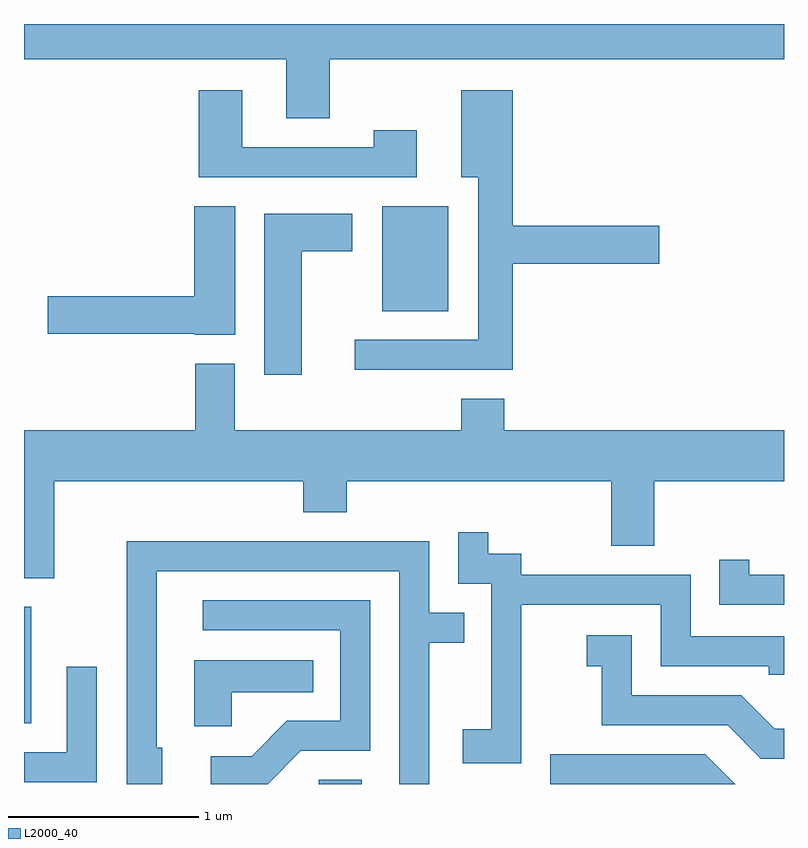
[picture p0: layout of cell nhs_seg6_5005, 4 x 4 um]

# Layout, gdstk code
import gdstk
lib = gdstk.Library(unit=1e-6, precision=1e-09)
def R(c, l, rs):  # rectangles x0, y0, x1, y1
    for r in rs: c.add(gdstk.rectangle(r[:2], r[2:], *l))
def P(c, l, *ps):  # polygons
    for p in ps: c.add(gdstk.Polygon(p, *l))
L2000_40 = (2000, 40)

nhs_seg6_5005 = lib.new_cell('nhs_seg6_5005')
R(nhs_seg6_5005, L2000_40, [(339.161,1606.162,339.389,1606.184), (337.611,1606.481,337.649,1607.094), (339.496,1608.651,339.844,1609.204)])
P(nhs_seg6_5005, L2000_40, [(339.219,1609.976),(341.611,1609.976),(341.611,1610.162),(337.611,1610.162),(337.611,1609.976),(338.991,1609.976),(338.991,1609.666),(339.219,1609.666)],
  [(339.679,1609.604),(339.451,1609.604),(339.451,1609.514),(338.759,1609.514),(338.759,1609.814),(338.531,1609.814),(338.531,1609.356),(339.679,1609.356)],
  [(340.184,1608.901),(340.954,1608.901),(340.954,1609.099),(340.184,1609.099),(340.184,1609.814),(339.911,1609.814),(339.911,1609.356),(340.001,1609.356),(340.001,1608.499),(339.353,1608.499),(339.353,1608.341),(340.184,1608.341)],
  [(338.724,1609.204),(338.506,1609.204),(338.506,1608.729),(337.736,1608.729),(337.736,1608.531),(338.51,1608.531),(338.51,1608.526),(338.724,1608.526)],
  [(339.074,1608.966),(339.339,1608.966),(339.339,1609.164),(338.876,1609.164),(338.876,1608.316),(339.074,1608.316)],
  [(337.769,1607.756),(339.081,1607.756),(339.081,1607.591),(339.309,1607.591),(339.309,1607.756),(340.701,1607.756),(340.701,1607.416),(340.929,1607.416),(340.929,1607.756),(341.611,1607.756),(341.611,1608.024),(340.139,1608.024),(340.139,1608.189),(339.911,1608.189),(339.911,1608.024),(338.719,1608.024),(338.719,1608.374),(338.511,1608.374),(338.511,1608.024),(337.611,1608.024),(337.611,1607.246),(337.769,1607.246)],
  [(340.229,1607.106),(340.961,1607.106),(340.961,1606.781),(341.531,1606.781),(341.531,1606.736),(341.611,1606.736),(341.611,1606.939),(341.119,1606.939),(341.119,1607.264),(340.229,1607.264),(340.229,1607.374),(340.054,1607.374),(340.054,1607.488),(339.896,1607.488),(339.896,1607.216),(340.071,1607.216),(340.071,1606.449),(339.921,1606.449),(339.921,1606.271),(340.229,1606.271)],
  [(338.339,1606.354),(338.309,1606.354),(338.309,1607.281),(339.586,1607.281),(339.586,1606.162),(339.744,1606.162),(339.744,1606.906),(339.928,1606.906),(339.928,1607.064),(339.744,1607.064),(339.744,1607.439),(338.151,1607.439),(338.151,1606.162),(338.339,1606.162)],
  [(341.611,1607.264),(341.429,1607.264),(341.429,1607.343),(341.271,1607.343),(341.271,1607.106),(341.611,1607.106)],
  [(339.067,1606.336),(339.434,1606.336),(339.434,1607.129),(338.553,1607.129),(338.553,1606.971),(339.276,1606.971),(339.276,1606.494),(338.994,1606.494),(338.809,1606.309),(338.593,1606.309),(338.593,1606.162),(338.893,1606.162)],
  [(341.611,1606.454),(341.562,1606.454),(341.387,1606.629),(340.809,1606.629),(340.809,1606.944),(340.573,1606.944),(340.573,1606.781),(340.651,1606.781),(340.651,1606.471),(341.314,1606.471),(341.489,1606.296),(341.611,1606.296)],
  [(338.704,1606.646),(339.133,1606.646),(339.133,1606.814),(338.506,1606.814),(338.506,1606.466),(338.704,1606.466)],
  [(337.994,1606.778),(337.836,1606.778),(337.836,1606.329),(337.611,1606.329),(337.611,1606.171),(337.994,1606.171)],
  [(341.197,1606.319),(340.381,1606.319),(340.381,1606.162),(341.354,1606.162)])

lib.write_gds('nhs_seg6_5005.gds')
